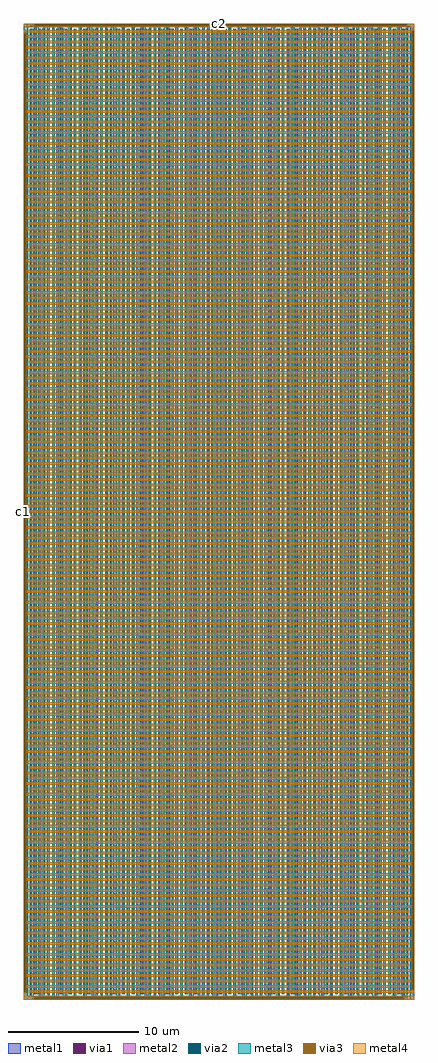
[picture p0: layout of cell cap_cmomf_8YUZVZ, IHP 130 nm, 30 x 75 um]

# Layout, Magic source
magic
tech ihp-sg13cmos5l
magscale 1 2
<< metal1 >>
rect 0 14860 58 15000
rect 94 14999 6000 15000
rect 94 14959 140 14999
rect 5900 14959 6000 14999
rect 94 14958 6000 14959
rect 0 100 1 14860
rect 41 100 58 14860
rect 0 42 58 100
rect 94 42 126 14922
rect 162 78 194 14958
rect 230 42 262 14922
rect 298 78 330 14958
rect 366 42 398 14922
rect 434 78 466 14958
rect 502 42 534 14922
rect 570 78 602 14958
rect 638 42 670 14922
rect 706 78 738 14958
rect 774 42 806 14922
rect 842 78 874 14958
rect 910 42 942 14922
rect 978 78 1010 14958
rect 1046 42 1078 14922
rect 1114 78 1146 14958
rect 1182 42 1214 14922
rect 1250 78 1282 14958
rect 1318 42 1350 14922
rect 1386 78 1418 14958
rect 1454 42 1486 14922
rect 1522 78 1554 14958
rect 1590 42 1622 14922
rect 1658 78 1690 14958
rect 1726 42 1758 14922
rect 1794 78 1826 14958
rect 1862 42 1894 14922
rect 1930 78 1962 14958
rect 1998 42 2030 14922
rect 2066 78 2098 14958
rect 2134 42 2166 14922
rect 2202 78 2234 14958
rect 2270 42 2302 14922
rect 2338 78 2370 14958
rect 2406 42 2438 14922
rect 2474 78 2506 14958
rect 2542 42 2574 14922
rect 2610 78 2642 14958
rect 2678 42 2710 14922
rect 2746 78 2778 14958
rect 2814 42 2846 14922
rect 2882 78 2914 14958
rect 2950 42 2982 14922
rect 3018 78 3050 14958
rect 3086 42 3118 14922
rect 3154 78 3186 14958
rect 3222 42 3254 14922
rect 3290 78 3322 14958
rect 3358 42 3390 14922
rect 3426 78 3458 14958
rect 3494 42 3526 14922
rect 3562 78 3594 14958
rect 3630 42 3662 14922
rect 3698 78 3730 14958
rect 3766 42 3798 14922
rect 3834 78 3866 14958
rect 3902 42 3934 14922
rect 3970 78 4002 14958
rect 4038 42 4070 14922
rect 4106 78 4138 14958
rect 4174 42 4206 14922
rect 4242 78 4274 14958
rect 4310 42 4342 14922
rect 4378 78 4410 14958
rect 4446 42 4478 14922
rect 4514 78 4546 14958
rect 4582 42 4614 14922
rect 4650 78 4682 14958
rect 4718 42 4750 14922
rect 4786 78 4818 14958
rect 4854 42 4886 14922
rect 4922 78 4954 14958
rect 4990 42 5022 14922
rect 5058 78 5090 14958
rect 5126 42 5158 14922
rect 5194 78 5226 14958
rect 5262 42 5294 14922
rect 5330 78 5362 14958
rect 5398 42 5430 14922
rect 5466 78 5498 14958
rect 5534 42 5566 14922
rect 5602 78 5634 14958
rect 5670 42 5702 14922
rect 5738 78 5770 14958
rect 5806 42 5838 14922
rect 5874 78 5906 14958
rect 5942 14900 6000 14958
rect 5942 140 5959 14900
rect 5999 140 6000 14900
rect 0 41 5906 42
rect 0 1 140 41
rect 5860 1 5906 41
rect 0 0 5906 1
rect 5942 0 6000 140
<< via1 >>
rect 140 14959 5900 14999
rect 1 100 41 14860
rect 5959 140 5999 14900
rect 140 1 5860 41
<< metal2 >>
rect 0 14999 150 15000
rect 5890 14999 6000 15000
rect 0 14959 140 14999
rect 5900 14959 6000 14999
rect 0 14942 6000 14959
rect 5959 14900 6000 14942
rect 0 14860 41 14900
rect 84 14860 5959 14900
rect 41 14778 5916 14818
rect 84 14696 5959 14736
rect 41 14614 5916 14654
rect 84 14532 5959 14572
rect 41 14450 5916 14490
rect 84 14368 5959 14408
rect 41 14286 5916 14326
rect 84 14204 5959 14244
rect 41 14122 5916 14162
rect 84 14040 5959 14080
rect 41 13958 5916 13998
rect 84 13876 5959 13916
rect 41 13794 5916 13834
rect 84 13712 5959 13752
rect 41 13630 5916 13670
rect 84 13548 5959 13588
rect 41 13466 5916 13506
rect 84 13384 5959 13424
rect 41 13302 5916 13342
rect 84 13220 5959 13260
rect 41 13138 5916 13178
rect 84 13056 5959 13096
rect 41 12974 5916 13014
rect 84 12892 5959 12932
rect 41 12810 5916 12850
rect 84 12728 5959 12768
rect 41 12646 5916 12686
rect 84 12564 5959 12604
rect 41 12482 5916 12522
rect 84 12400 5959 12440
rect 41 12318 5916 12358
rect 84 12236 5959 12276
rect 41 12154 5916 12194
rect 84 12072 5959 12112
rect 41 11990 5916 12030
rect 84 11908 5959 11948
rect 41 11826 5916 11866
rect 84 11744 5959 11784
rect 41 11662 5916 11702
rect 84 11580 5959 11620
rect 41 11498 5916 11538
rect 84 11416 5959 11456
rect 41 11334 5916 11374
rect 84 11252 5959 11292
rect 41 11170 5916 11210
rect 84 11088 5959 11128
rect 41 11006 5916 11046
rect 84 10924 5959 10964
rect 41 10842 5916 10882
rect 84 10760 5959 10800
rect 41 10678 5916 10718
rect 84 10596 5959 10636
rect 41 10514 5916 10554
rect 84 10432 5959 10472
rect 41 10350 5916 10390
rect 84 10268 5959 10308
rect 41 10186 5916 10226
rect 84 10104 5959 10144
rect 41 10022 5916 10062
rect 84 9940 5959 9980
rect 41 9858 5916 9898
rect 84 9776 5959 9816
rect 41 9694 5916 9734
rect 84 9612 5959 9652
rect 41 9530 5916 9570
rect 84 9448 5959 9488
rect 41 9366 5916 9406
rect 84 9284 5959 9324
rect 41 9202 5916 9242
rect 84 9120 5959 9160
rect 41 9038 5916 9078
rect 84 8956 5959 8996
rect 41 8874 5916 8914
rect 84 8792 5959 8832
rect 41 8710 5916 8750
rect 84 8628 5959 8668
rect 41 8546 5916 8586
rect 84 8464 5959 8504
rect 41 8382 5916 8422
rect 84 8300 5959 8340
rect 41 8218 5916 8258
rect 84 8136 5959 8176
rect 41 8054 5916 8094
rect 84 7972 5959 8012
rect 41 7890 5916 7930
rect 84 7808 5959 7848
rect 41 7726 5916 7766
rect 84 7644 5959 7684
rect 41 7562 5916 7602
rect 84 7480 5959 7520
rect 41 7398 5916 7438
rect 84 7316 5959 7356
rect 41 7234 5916 7274
rect 84 7152 5959 7192
rect 41 7070 5916 7110
rect 84 6988 5959 7028
rect 41 6906 5916 6946
rect 84 6824 5959 6864
rect 41 6742 5916 6782
rect 84 6660 5959 6700
rect 41 6578 5916 6618
rect 84 6496 5959 6536
rect 41 6414 5916 6454
rect 84 6332 5959 6372
rect 41 6250 5916 6290
rect 84 6168 5959 6208
rect 41 6086 5916 6126
rect 84 6004 5959 6044
rect 41 5922 5916 5962
rect 84 5840 5959 5880
rect 41 5758 5916 5798
rect 84 5676 5959 5716
rect 41 5594 5916 5634
rect 84 5512 5959 5552
rect 41 5430 5916 5470
rect 84 5348 5959 5388
rect 41 5266 5916 5306
rect 84 5184 5959 5224
rect 41 5102 5916 5142
rect 84 5020 5959 5060
rect 41 4938 5916 4978
rect 84 4856 5959 4896
rect 41 4774 5916 4814
rect 84 4692 5959 4732
rect 41 4610 5916 4650
rect 84 4528 5959 4568
rect 41 4446 5916 4486
rect 84 4364 5959 4404
rect 41 4282 5916 4322
rect 84 4200 5959 4240
rect 41 4118 5916 4158
rect 84 4036 5959 4076
rect 41 3954 5916 3994
rect 84 3872 5959 3912
rect 41 3790 5916 3830
rect 84 3708 5959 3748
rect 41 3626 5916 3666
rect 84 3544 5959 3584
rect 41 3462 5916 3502
rect 84 3380 5959 3420
rect 41 3298 5916 3338
rect 84 3216 5959 3256
rect 41 3134 5916 3174
rect 84 3052 5959 3092
rect 41 2970 5916 3010
rect 84 2888 5959 2928
rect 41 2806 5916 2846
rect 84 2724 5959 2764
rect 41 2642 5916 2682
rect 84 2560 5959 2600
rect 41 2478 5916 2518
rect 84 2396 5959 2436
rect 41 2314 5916 2354
rect 84 2232 5959 2272
rect 41 2150 5916 2190
rect 84 2068 5959 2108
rect 41 1986 5916 2026
rect 84 1904 5959 1944
rect 41 1822 5916 1862
rect 84 1740 5959 1780
rect 41 1658 5916 1698
rect 84 1576 5959 1616
rect 41 1494 5916 1534
rect 84 1412 5959 1452
rect 41 1330 5916 1370
rect 84 1248 5959 1288
rect 41 1166 5916 1206
rect 84 1084 5959 1124
rect 41 1002 5916 1042
rect 84 920 5959 960
rect 41 838 5916 878
rect 84 756 5959 796
rect 41 674 5916 714
rect 84 592 5959 632
rect 41 510 5916 550
rect 84 428 5959 468
rect 41 346 5916 386
rect 84 264 5959 304
rect 41 182 5916 222
rect 84 100 6000 140
rect 0 58 41 100
rect 0 41 6000 58
rect 0 1 140 41
rect 5860 1 6000 41
rect 0 0 150 1
rect 5850 0 6000 1
<< via2 >>
rect 150 14999 5890 15000
rect 150 14960 5890 14999
rect 0 100 1 14860
rect 1 100 40 14860
rect 5960 140 5999 14900
rect 5999 140 6000 14900
rect 150 1 5850 40
rect 150 0 5850 1
<< metal3 >>
rect 0 14860 68 15000
rect 110 14960 150 15000
rect 5890 14960 6000 15000
rect 40 100 68 14860
rect 0 40 68 100
rect 110 40 150 14918
rect 192 82 232 14960
rect 274 40 314 14918
rect 356 82 396 14960
rect 438 40 478 14918
rect 520 82 560 14960
rect 602 40 642 14918
rect 684 82 724 14960
rect 766 40 806 14918
rect 848 82 888 14960
rect 930 40 970 14918
rect 1012 82 1052 14960
rect 1094 40 1134 14918
rect 1176 82 1216 14960
rect 1258 40 1298 14918
rect 1340 82 1380 14960
rect 1422 40 1462 14918
rect 1504 82 1544 14960
rect 1586 40 1626 14918
rect 1668 82 1708 14960
rect 1750 40 1790 14918
rect 1832 82 1872 14960
rect 1914 40 1954 14918
rect 1996 82 2036 14960
rect 2078 40 2118 14918
rect 2160 82 2200 14960
rect 2242 40 2282 14918
rect 2324 82 2364 14960
rect 2406 40 2446 14918
rect 2488 82 2528 14960
rect 2570 40 2610 14918
rect 2652 82 2692 14960
rect 2734 40 2774 14918
rect 2816 82 2856 14960
rect 2898 40 2938 14918
rect 2980 82 3020 14960
rect 3062 40 3102 14918
rect 3144 82 3184 14960
rect 3226 40 3266 14918
rect 3308 82 3348 14960
rect 3390 40 3430 14918
rect 3472 82 3512 14960
rect 3554 40 3594 14918
rect 3636 82 3676 14960
rect 3718 40 3758 14918
rect 3800 82 3840 14960
rect 3882 40 3922 14918
rect 3964 82 4004 14960
rect 4046 40 4086 14918
rect 4128 82 4168 14960
rect 4210 40 4250 14918
rect 4292 82 4332 14960
rect 4374 40 4414 14918
rect 4456 82 4496 14960
rect 4538 40 4578 14918
rect 4620 82 4660 14960
rect 4702 40 4742 14918
rect 4784 82 4824 14960
rect 4866 40 4906 14918
rect 4948 82 4988 14960
rect 5030 40 5070 14918
rect 5112 82 5152 14960
rect 5194 40 5234 14918
rect 5276 82 5316 14960
rect 5358 40 5398 14918
rect 5440 82 5480 14960
rect 5522 40 5562 14918
rect 5604 82 5644 14960
rect 5686 40 5726 14918
rect 5768 82 5808 14960
rect 0 0 150 40
rect 5850 0 5890 14918
rect 5932 14900 6000 14960
rect 5932 140 5960 14900
rect 5932 0 6000 140
<< via3 >>
rect 150 14960 5890 15000
rect 0 100 40 14860
rect 150 0 5850 40
rect 5960 140 6000 14900
<< metal4 >>
rect 0 14960 150 15000
rect 5890 14960 6000 15000
rect 0 14942 6000 14960
rect 5960 14900 6000 14942
rect 0 14860 40 14900
rect 82 14860 5960 14900
rect 40 14778 5918 14818
rect 82 14696 5960 14736
rect 40 14614 5918 14654
rect 82 14532 5960 14572
rect 40 14450 5918 14490
rect 82 14368 5960 14408
rect 40 14286 5918 14326
rect 82 14204 5960 14244
rect 40 14122 5918 14162
rect 82 14040 5960 14080
rect 40 13958 5918 13998
rect 82 13876 5960 13916
rect 40 13794 5918 13834
rect 82 13712 5960 13752
rect 40 13630 5918 13670
rect 82 13548 5960 13588
rect 40 13466 5918 13506
rect 82 13384 5960 13424
rect 40 13302 5918 13342
rect 82 13220 5960 13260
rect 40 13138 5918 13178
rect 82 13056 5960 13096
rect 40 12974 5918 13014
rect 82 12892 5960 12932
rect 40 12810 5918 12850
rect 82 12728 5960 12768
rect 40 12646 5918 12686
rect 82 12564 5960 12604
rect 40 12482 5918 12522
rect 82 12400 5960 12440
rect 40 12318 5918 12358
rect 82 12236 5960 12276
rect 40 12154 5918 12194
rect 82 12072 5960 12112
rect 40 11990 5918 12030
rect 82 11908 5960 11948
rect 40 11826 5918 11866
rect 82 11744 5960 11784
rect 40 11662 5918 11702
rect 82 11580 5960 11620
rect 40 11498 5918 11538
rect 82 11416 5960 11456
rect 40 11334 5918 11374
rect 82 11252 5960 11292
rect 40 11170 5918 11210
rect 82 11088 5960 11128
rect 40 11006 5918 11046
rect 82 10924 5960 10964
rect 40 10842 5918 10882
rect 82 10760 5960 10800
rect 40 10678 5918 10718
rect 82 10596 5960 10636
rect 40 10514 5918 10554
rect 82 10432 5960 10472
rect 40 10350 5918 10390
rect 82 10268 5960 10308
rect 40 10186 5918 10226
rect 82 10104 5960 10144
rect 40 10022 5918 10062
rect 82 9940 5960 9980
rect 40 9858 5918 9898
rect 82 9776 5960 9816
rect 40 9694 5918 9734
rect 82 9612 5960 9652
rect 40 9530 5918 9570
rect 82 9448 5960 9488
rect 40 9366 5918 9406
rect 82 9284 5960 9324
rect 40 9202 5918 9242
rect 82 9120 5960 9160
rect 40 9038 5918 9078
rect 82 8956 5960 8996
rect 40 8874 5918 8914
rect 82 8792 5960 8832
rect 40 8710 5918 8750
rect 82 8628 5960 8668
rect 40 8546 5918 8586
rect 82 8464 5960 8504
rect 40 8382 5918 8422
rect 82 8300 5960 8340
rect 40 8218 5918 8258
rect 82 8136 5960 8176
rect 40 8054 5918 8094
rect 82 7972 5960 8012
rect 40 7890 5918 7930
rect 82 7808 5960 7848
rect 40 7726 5918 7766
rect 82 7644 5960 7684
rect 40 7562 5918 7602
rect 82 7480 5960 7520
rect 40 7398 5918 7438
rect 82 7316 5960 7356
rect 40 7234 5918 7274
rect 82 7152 5960 7192
rect 40 7070 5918 7110
rect 82 6988 5960 7028
rect 40 6906 5918 6946
rect 82 6824 5960 6864
rect 40 6742 5918 6782
rect 82 6660 5960 6700
rect 40 6578 5918 6618
rect 82 6496 5960 6536
rect 40 6414 5918 6454
rect 82 6332 5960 6372
rect 40 6250 5918 6290
rect 82 6168 5960 6208
rect 40 6086 5918 6126
rect 82 6004 5960 6044
rect 40 5922 5918 5962
rect 82 5840 5960 5880
rect 40 5758 5918 5798
rect 82 5676 5960 5716
rect 40 5594 5918 5634
rect 82 5512 5960 5552
rect 40 5430 5918 5470
rect 82 5348 5960 5388
rect 40 5266 5918 5306
rect 82 5184 5960 5224
rect 40 5102 5918 5142
rect 82 5020 5960 5060
rect 40 4938 5918 4978
rect 82 4856 5960 4896
rect 40 4774 5918 4814
rect 82 4692 5960 4732
rect 40 4610 5918 4650
rect 82 4528 5960 4568
rect 40 4446 5918 4486
rect 82 4364 5960 4404
rect 40 4282 5918 4322
rect 82 4200 5960 4240
rect 40 4118 5918 4158
rect 82 4036 5960 4076
rect 40 3954 5918 3994
rect 82 3872 5960 3912
rect 40 3790 5918 3830
rect 82 3708 5960 3748
rect 40 3626 5918 3666
rect 82 3544 5960 3584
rect 40 3462 5918 3502
rect 82 3380 5960 3420
rect 40 3298 5918 3338
rect 82 3216 5960 3256
rect 40 3134 5918 3174
rect 82 3052 5960 3092
rect 40 2970 5918 3010
rect 82 2888 5960 2928
rect 40 2806 5918 2846
rect 82 2724 5960 2764
rect 40 2642 5918 2682
rect 82 2560 5960 2600
rect 40 2478 5918 2518
rect 82 2396 5960 2436
rect 40 2314 5918 2354
rect 82 2232 5960 2272
rect 40 2150 5918 2190
rect 82 2068 5960 2108
rect 40 1986 5918 2026
rect 82 1904 5960 1944
rect 40 1822 5918 1862
rect 82 1740 5960 1780
rect 40 1658 5918 1698
rect 82 1576 5960 1616
rect 40 1494 5918 1534
rect 82 1412 5960 1452
rect 40 1330 5918 1370
rect 82 1248 5960 1288
rect 40 1166 5918 1206
rect 82 1084 5960 1124
rect 40 1002 5918 1042
rect 82 920 5960 960
rect 40 838 5918 878
rect 82 756 5960 796
rect 40 674 5918 714
rect 82 592 5960 632
rect 40 510 5918 550
rect 82 428 5960 468
rect 40 346 5918 386
rect 82 264 5960 304
rect 40 182 5918 222
rect 82 100 6000 140
rect 0 58 40 100
rect 0 40 6000 58
rect 0 0 150 40
rect 5850 0 6000 40
<< labels >>
rlabel via3 2 7500 2 7500 0 c1
port 3 nsew
rlabel via3 3000 14998 3000 14998 0 c2
port 4 nsew
<< properties >>
string device devcap None 0 0 1 1 3115.8366 c1 0 0 c2 0 0
string FIXED_BBOX 0 0 6000 15000
string gencell cap_cmomf
string library sg13cmos5l
string parameters w 30.0 l 75.0 value 9.28 class capacitor mmin metal1 mmax metal4 square 1 subblock 0 lmin 2.00 wmin 2.00 lmax 100.0 wmax 100.0 m 1
<< end >>
